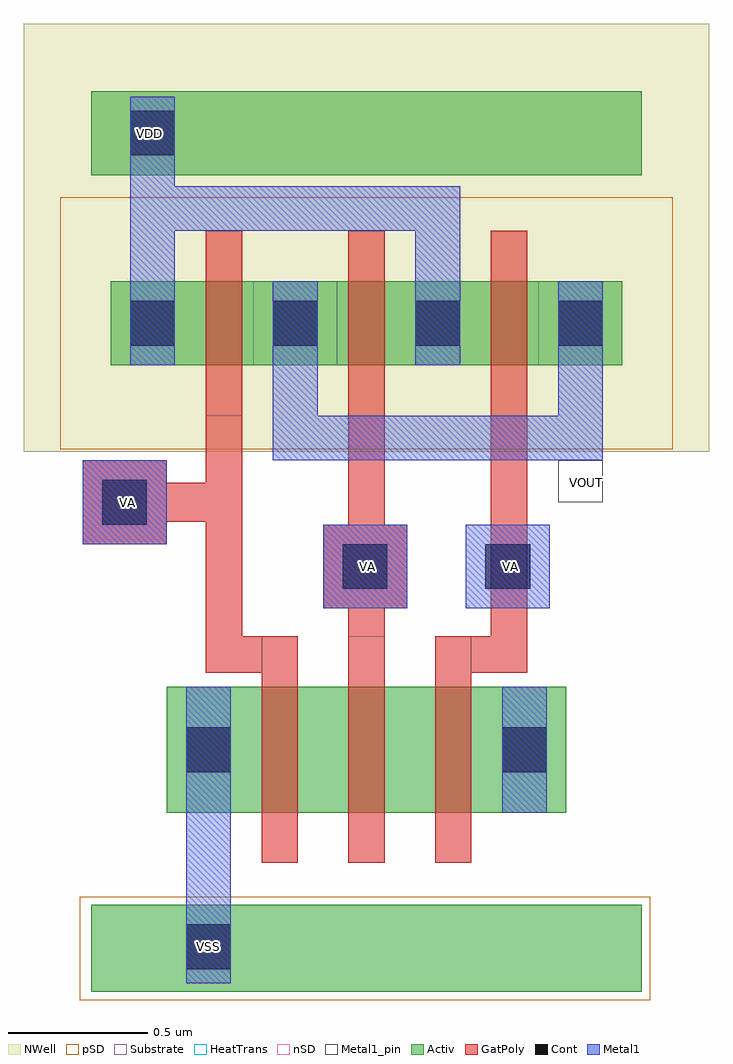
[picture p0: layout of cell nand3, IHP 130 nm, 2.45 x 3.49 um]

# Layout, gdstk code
import gdstk
lib = gdstk.Library(unit=1e-6, precision=5e-09)
def R(c, l, rs):  # rectangles x0, y0, x1, y1
    for r in rs: c.add(gdstk.rectangle(r[:2], r[2:], *l))
def A(c, l, x, y, w, h, nx, ny, dx, dy):  # array of equal rectangles
    R(c, l, [(x+i*dx, y+j*dy, x+i*dx+w, y+j*dy+h) for i in range(nx) for j in range(ny)])
def P(c, l, *ps):  # polygons
    for p in ps: c.add(gdstk.Polygon(p, *l))
Activ = (1, 0)
GatPoly = (5, 0)
Cont = (6, 0)
nSD = (7, 0)
Metal1 = (8, 0)
Metal1_pin = (8, 2)
pSD = (14, 0)
NWell = (31, 0)
Substrate = (40, 0)
HeatTrans = (51, 0)

nmos_serie = lib.new_cell('nmos_serie')
R(nmos_serie, Activ, [(0,0.18,1.43,0.63)])
A(nmos_serie, GatPoly, 0.34, 0, 0.13, 0.81, 3, 1, 0.31, 0)
R(nmos_serie, Cont, [(0.07,0.325,0.23,0.485), (1.2,0.325,1.36,0.485)])
R(nmos_serie, Metal1, [(0.07,0.18,0.23,0.63), (1.2,0.18,1.36,0.63)])
A(nmos_serie, HeatTrans, 0.34, 0, 0.13, 0.81, 3, 1, 0.31, 0)
nmos_serie.add(gdstk.Label('nmos', (0.71,0.41), layer=63, texttype=0))
nmos_serie.add(gdstk.Label('nmos', (1.02,0.4), layer=63, texttype=0))
nmos_serie.add(gdstk.Label('nmos', (0.405,0.405), layer=63, texttype=0))
nmos_serie.add(gdstk.Label('nmos', (0.71,0.41), layer=51, texttype=0))
nmos_serie.add(gdstk.Label('nmos', (1.02,0.4), layer=51, texttype=0))
nmos_serie.add(gdstk.Label('nmos', (0.405,0.405), layer=51, texttype=0))

pmos_parallel = lib.new_cell('pmos_parallel')
R(pmos_parallel, Activ, [(0.31,0.31,2.14,0.61), (0.31,0.31,0.61,0.61), (1.84,0.31,2.14,0.61)])
R(pmos_parallel, GatPoly, [(0.65,0.13,0.78,0.79), (0.65,0.13,0.78,0.79), (1.16,0.13,1.29,0.79), (1.16,0.13,1.29,0.79), (1.67,0.13,1.8,0.79), (1.67,0.13,1.8,0.79)])
A(pmos_parallel, Cont, 0.38, 0.38, 0.16, 0.16, 4, 1, 0.51, 0)
R(pmos_parallel, Metal1, [(0.38,0.31,0.54,0.61), (0.38,0.31,0.54,0.61), (0.89,0.31,1.05,0.61), (0.89,0.31,1.05,0.61), (1.4,0.31,1.56,0.61), (1.4,0.31,1.56,0.61), (1.91,0.31,2.07,0.61), (1.91,0.31,2.07,0.61)])
R(pmos_parallel, pSD, [(0.13,0.01,2.32,0.91)])
R(pmos_parallel, NWell, [(0,0,2.45,0.92)])
R(pmos_parallel, Substrate, [(0.82,0.31,1.12,0.61), (1.84,0.31,2.14,0.61)])
A(pmos_parallel, HeatTrans, 0.65, 0.13, 0.13, 0.66, 3, 1, 0.51, 0)
pmos_parallel.add(gdstk.Label('pmos', (1.22,0.46), layer=63, texttype=0))
pmos_parallel.add(gdstk.Label('pmos', (1.74,0.46), layer=63, texttype=0))
pmos_parallel.add(gdstk.Label('pmos', (0.715,0.46), layer=63, texttype=0))
pmos_parallel.add(gdstk.Label('pmos', (1.22,0.46), layer=51, texttype=0))
pmos_parallel.add(gdstk.Label('pmos', (1.74,0.46), layer=51, texttype=0))
pmos_parallel.add(gdstk.Label('pmos', (0.715,0.46), layer=51, texttype=0))

nand3 = lib.new_cell('nand3')
R(nand3, Activ, [(0.24,-1.93,2.21,-1.62), (0.24,0.99,2.21,1.29)])
P(nand3, GatPoly, [(1.16,-0.66),(1.16,-0.56),(1.07,-0.56),(1.07,-0.26),(1.16,-0.26),(1.16,0.13),(1.29,0.13),(1.29,-0.26),(1.37,-0.26),(1.37,-0.56),(1.29,-0.56),(1.29,-0.66)],
  [(1.6,-0.79),(1.6,-0.66),(1.67,-0.66),(1.67,0.13),(1.8,0.13),(1.8,-0.79)],
  [(0.65,-0.79),(0.65,-0.25),(0.51,-0.25),(0.51,-0.33),(0.21,-0.33),(0.21,-0.03),(0.51,-0.03),(0.51,-0.11),(0.65,-0.11),(0.65,0.13),(0.78,0.13),(0.78,-0.66),(0.85,-0.66),(0.85,-0.79)])
R(nand3, Cont, [(0.58,-1.85,0.74,-1.69), (1.14,-0.49,1.3,-0.33), (1.65,-0.49,1.81,-0.33), (0.28,-0.26,0.44,-0.1), (0.38,1.06,0.54,1.22)])
R(nand3, nSD, [(0.24,0.99,2.21,1.29)])
R(nand3, Metal1, [(0.58,-1.9,0.74,-1.29), (1.07,-0.56,1.37,-0.26), (1.58,-0.56,1.88,-0.26), (0.21,-0.33,0.51,-0.03)])
P(nand3, Metal1, [(0.89,-0.03),(0.89,0.46),(1.05,0.46),(1.05,0.13),(1.91,0.13),(1.91,0.46),(2.07,0.46),(2.07,-0.03),(1.91,-0.03)],
  [(0.38,0.46),(0.38,1.27),(0.54,1.27),(0.54,0.95),(1.56,0.95),(1.56,0.46),(1.4,0.46),(1.4,0.79),(0.54,0.79),(0.54,0.46)])
R(nand3, Metal1_pin, [(0.58,-1.85,0.74,-1.69), (1.91,-0.18,2.07,-0.03), (0.38,1.06,0.54,1.22)])
R(nand3, pSD, [(0.2,-1.96,2.24,-1.59)])
R(nand3, NWell, [(0,0.92,2.45,1.53)])
nand3.add(gdstk.Reference(nmos_serie, (0.51,-1.47)))
nand3.add(gdstk.Reference(pmos_parallel, (0,0)))
nand3.add(gdstk.Label('VDD', (0.45,1.14), layer=8, texttype=25))
nand3.add(gdstk.Label('VOUT', (2.01,-0.11), layer=8, texttype=25))
nand3.add(gdstk.Label('VSS', (0.66,-1.77), layer=8, texttype=25))
nand3.add(gdstk.Label('VA', (0.37,-0.18), layer=8, texttype=25))
nand3.add(gdstk.Label('VA', (1.23,-0.41), layer=8, texttype=25))
nand3.add(gdstk.Label('VA', (1.74,-0.41), layer=8, texttype=25))

lib.write_gds('nand3.gds')
